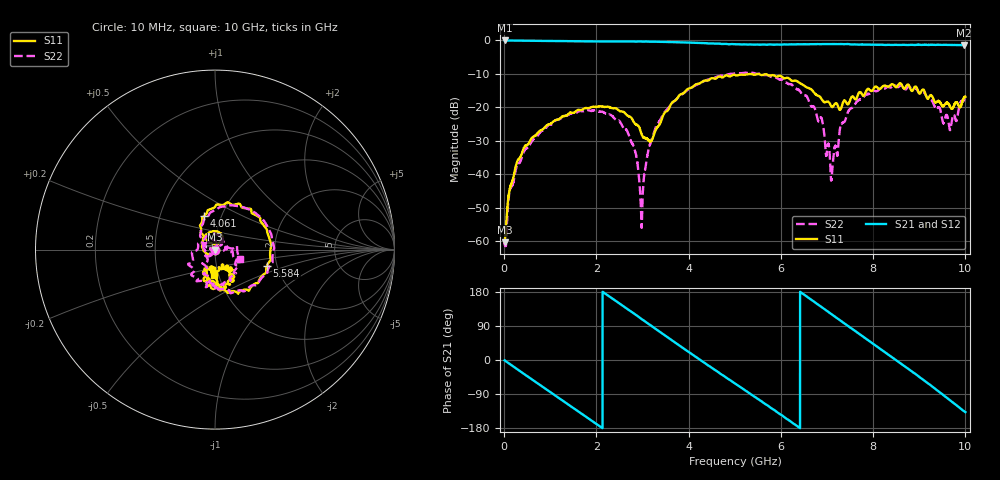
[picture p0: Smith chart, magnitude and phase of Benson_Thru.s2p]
!	Fieldfox Controller
!	Chapman University - Class ENG398
!	Introduction to RF - DMG (2024)
!Created with skrf (http://scikit-rf.org).
# Hz S RI R 50.0
!freq ReS11 ImS11 ReS21 ImS21 ReS12 ImS12 ReS22 ImS22
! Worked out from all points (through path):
!   8001 points, 10 MHz to 10 GHz, reference 50 ohm
!   highest |S21| = -0.01 dB at 10 MHz (marker M1); lowest = -1.5 dB at 9.973 GHz (marker M2)
!   group delay of S21, straight-line fit = 236 ps
!   lowest |S11| = -60.4 dB at 13.75 MHz (marker M3), VSWR 1.00, Z = 50.1 - j0.0175 ohm
!   |S11| at or under -10 dB: start of sweep to end of sweep
!   |S22| runs from -61.5 to -9.6 dB; largest |S21 - S12| = 0.022
!   S11 on the Smith chart (normalised r, x): 10 MHz: 1.00, -0.00; 4.061 GHz: 0.83, +0.32; 5.584 GHz: 1.77, -0.35; 10 GHz: 0.94, -0.28
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1e7  0.000993 -1.52e-05  0.9992 -0.0153  0.9985 -0.0153  0.000973 0.000141
1.374625e7  0.000939 -0.000175  0.9987 -0.0211  0.9987 -0.0214  0.000887 0.000194
1.323775e8  0.000673 -0.00636  0.9766 -0.1969  0.9767 -0.1974  0.00142 -0.00596
4.44565e8  -0.0104 -0.0238  0.7811 -0.6098  0.7814 -0.6095  -0.0104 -0.0205
1.052706e9  -0.0591 -0.0107  0.0119 -0.9808  0.0111 -0.9809  -0.0573 -0.000906
1.675832e9  -0.0566 0.0714  -0.7612 -0.603  -0.7624 -0.6024  -0.0471 0.0744
2.65735e9  0.0421 0.0639  -0.6903 0.6743  -0.6893 0.6713  0.0363 0.0273
2.849658e9  0.0351 0.0437  -0.4694 0.8359  -0.4725 0.8375  0.0171 0.0117
2.974532e9  0.0202 0.0353  -0.305 0.9122  -0.3074 0.9105  0.00186 0.00118
3.340416e9  -0.0361 0.0378  0.2088 0.9313  0.2066 0.9279  -0.0532 0.0239
4.060945e9  -0.0596 0.1876  0.8894 0.2573  0.8911 0.2548  -0.0346 0.1916
5.005e9  0.2523 0.1697  0.41 -0.7724  0.402 -0.7772  0.2997 0.1136
5.58442e9  0.2901 -0.0906  -0.2887 -0.8179  -0.2942 -0.8163  0.2804 -0.1431
6.132621e9  0.129 -0.2459  -0.7933 -0.3555  -0.8058 -0.3584  0.0623 -0.2214
6.670832e9  0.0132 -0.1815  -0.815 0.3304  -0.8247 0.3356  -0.0633 -0.0811
7.104149e9  0.0226 -0.0995  -0.4452 0.762  -0.4474 0.7686  0.00717 -0.00655
7.483769e9  0.0606 -0.1033  0.0444 0.8785  0.0555 0.8822  0.0917 -0.0108
8.335416e9  0.0556 -0.1965  0.8357 0.208  0.8442 0.1978  0.0466 -0.1958
9.28072e9  -0.0501 -0.137  0.2934 -0.812  0.287 -0.8159  -0.1232 -0.0105
9.669081e9  -0.0146 -0.1012  -0.2426 -0.8206  -0.2485 -0.8217  0.011 0.0444
9.972528e9  -0.0137 -0.1403  -0.6004 -0.5939  -0.6086 -0.5883  0.1276 -0.0231
1e10  -0.00786 -0.1439  -0.6262 -0.571  -0.6333 -0.5582  0.139 -0.0498
